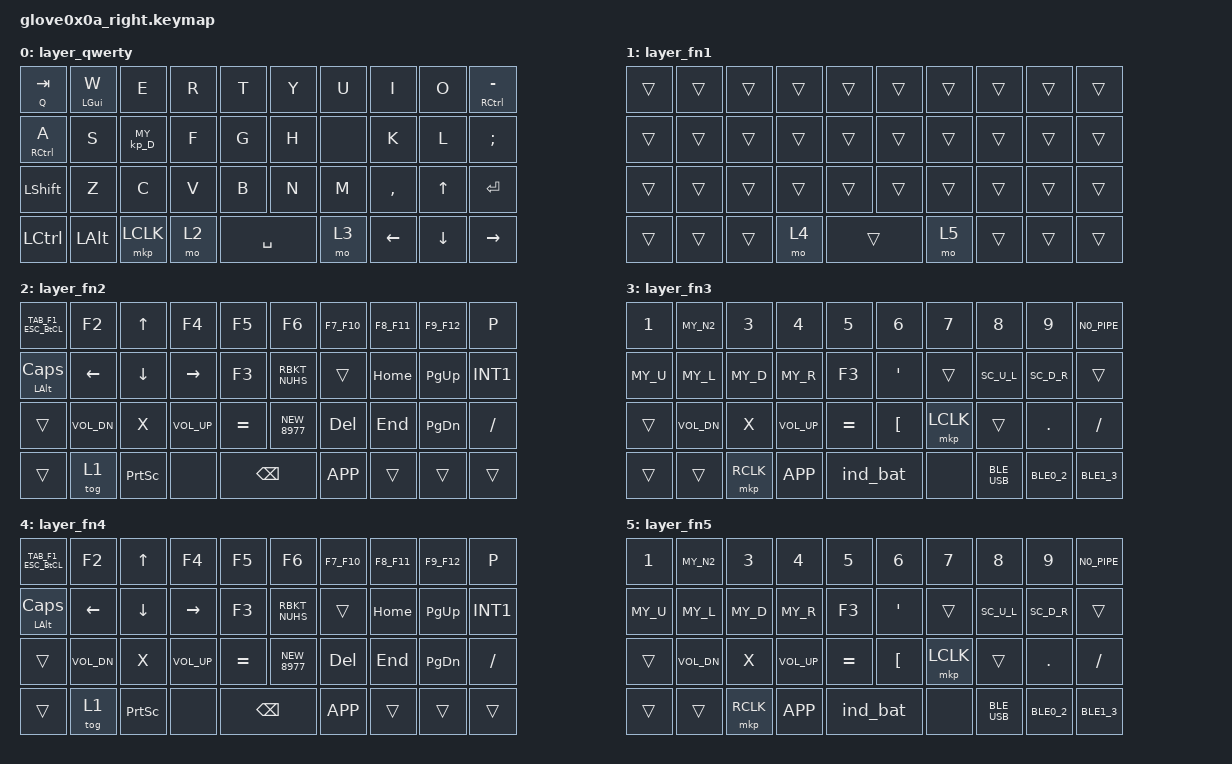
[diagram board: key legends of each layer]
#include <behaviors.dtsi>
#include <dt-bindings/zmk/keys.h>
#include <dt-bindings/zmk/bt.h>
#include <dt-bindings/zmk/outputs.h>
#include <dt-bindings/zmk/rgb.h>
#include <behaviors/rgbled_widget.dtsi>

//define
//ロータリーエンコーダ：マウスのスクロール量
#define ZMK_POINTING_DEFAULT_MOVE_VAL 1500
#define ZMK_POINTING_DEFAULT_SCRL_VAL 60

#include <dt-bindings/zmk/pointing.h>
#include <dt-bindings/input/input-event-codes.h>

#define HOLD_MS 250
//#define DANCE_MS 200
#define PIPE_ LS(INT3)
#define LS_   LSHFT

#define LO_U MOVE_Y(-1000)
#define LO_D MOVE_Y(1000)
#define LO_L MOVE_X(-1000)
#define LO_R MOVE_X(1000)
#define HI_U MOVE_Y(-200)
#define HI_D MOVE_Y(200)
#define HI_L MOVE_X(-200)
#define HI_R MOVE_X(200)

#define Rc(keycode) APPLY_MODS(MOD_RCTL, keycode)

//■■dtsi*********************************************************************************************
//2026.06.22 #1223                         左X4A、右CSTS。
//2026.06.22 #1222                         ☑XIAO BLE plusのGPIO制限からマトリクススキャンに変更。
//2026.06.20 #1208                         ☑1.キーマップ修正右→左、左手でLED利用(CapsLock)。
//2026.06.20 #1202 『glove0x0a_left.dtsi』 ☑1.左右でコンパイル、右手はCSTSを使用、左はX4Aを利用。
//2026.06.20 #1200 『glove0x0a_left.dtsi』 ☑1.direct scan
//                                         ☑2.XIAO BLE plus、表面のpinを入力で使う
//                                         ☑3.左右でコンパイル、右手はCSTSを使用、左はまだ
//                                         ☑4.USB-Cの5V給電(外両端-GND,次のピン-5V)
//■■Keymap*******************************************************************************************
//2026.06.06 #1172  Layer=2,4              mtを200msへ。shiftをCTRL+shiftへ。他レイヤーはshiftのみ。
//2026.05.30 #1113  Layer=0                W長押しでWin。
//                  Layer=1                QキーにBLE_CLRを統合。基本:ESC, 【ALT,Ctrl】:LS(TAB), 【LGUI】:F1, 【LSFT】:BT_CLR
//                  Layer=4                Layre 2をオーバーライド。zigglerがONのときだけ。LEDカラーが異なる。
//                  Layer=5                Layer 3をオーバーライド。zigglerがONのときだけ。LEDカラーが異なる。
//2026.05.20 #1101  Layer=2                CAPSとLALTを左小指に集約。
//2026.03.12 #873   全Layer                物理配置を再調整。D1が不調。(dts再調整)
//2026.03.03 #860   Layer=3                レイヤー3でMキーで、左クリック。
//2026.03.01 #847   Layer=ALL              Ctrlキーを再配置。
//                  Layer=3                BLE機能関連のキー右下に集約。
//2026.02.28 #832   Layer=2                Fnキーをレイヤー上段に集約。
//■■az1uball*******************************************************************************************
//2026.06.03 #1145 『az1uball.c』          キー検知の際に、画面描写がすぐ行われるように、検知直後のpolling周期を最速へ。
//2026.05.30 #1113 『az1uball.c』          R_CTR検知でマウス移動。
//2026.05.20 #1101 『az1uball.c』          GUI検知時にマウス移動。
//2026.03.01 #843  『az1uball.c』          デバッグ:AZ1UBALL:加速度上限制御。//2026.03.01 #842 デバッグ:AZ1UBALL:前回移動量のクリアを明記。//2026.03.01 #841 デバッグ:AZ1UBALL:前回移動量の保存条件を変更。//2026.03.01 #838 デバッグ:AZ1UBALL:cos/sinの符号不良。//2026.03.01 #837 デバッグ:AZ1UBALL:方向検出不良(if右else左else下else上->if右else左 if下else上)//2026.02.28 #834 デバッグ:AZ1UBALL:加速度不良。
//2026.02.28 #828  『az1uball.c』          I2C & AZ1UBALLのカスタマイズ。移動量,角度,加速度。
//■■ziggler*******************************************************************************************
//2026.06.05 #1157 『az1uball.c』          描画検知、ESCでのみI2Cのスリープ復帰。他キーはポーリング周期に影響なし。
//2026.06.03 #1145 『az1uball.c』          ジグラー周期で必ず動作するように、マウス幅を10へ(往復)。周期 > 閾値となるように調整。割込み時もジグラー見送り。
//2026.06.03 #1136 『activity.c』          deep sleep無効モード実装。(layer=1:ジグラーモードはdeep sleep無効)
//2026.06.03 #1136 『az1uball.c』          keymap・節電のため、layer 1をtogに変更。deep sleep無効モード実装。(以前は常に割込みが効いていたので、deep sleepを抑止できてたっぽい)
//2026.06.03 #1130 『az1uball.c』          ポーリングを節電方式に。
//2026.04.30 #1084 『az1uball.c』          ZIGGLER = mo 1 レイヤ & ON/OFF 物理スイッチ。
//■■カスタムbehavior*******************************************************************************************
//2026.06.08 #1175 『behavior_tap_dance.c』mo3とESCをタップダンスで実装。ほかキー割込み時にシングルタップ(mo3,5)を優先。
//2026.05.20 #1101 『behavior_hold_tap.c』 1.他キー割込み時はtap扱い。2.LALTのみhold扱い。3.Layer3の高速比率を3->6へ。
//2026.03.14 #919  『behavior_mod_morph.c』Q、TABへ。mod-morphの修飾キー(CTRL/ALT)マスク削除。例) ALT + Q(ALT時TAB)→ALT + TABへ。GUIはESC割込み追加。
//2026.03.13 #881  『behavior_tap_dance.c』tap-danceの自動リリース削除、押しっぱなしでホールド/即リリースは後追い。
//2026.02.23 #764  『behavior_capslock_led.c』zmkバージョンアップにより、rgbledをローカルzmkへ統合。
/////////////////////////////////////////////////
&mt {
    tapping-term-ms = <HOLD_MS>;  //hold-tap / caps -> Ctrl
};
/ {
//★macro---------------------------------------------------
    macros {
        BLE_USB: BLE_USB {
            compatible = "zmk,behavior-macro";
            #binding-cells = <0>;
            bindings
                = <&macro_tap &out OUT_USB>
                , <&macro_tap &bt BT_SEL 5 >;
        };
        BLE0: BLE0 {
            compatible = "zmk,behavior-macro";
            #binding-cells = <0>;
            bindings
                = <&macro_tap &out OUT_BLE>
                , <&macro_tap &bt BT_SEL 0 >;
        };
        BLE1: BLE1 {
            compatible = "zmk,behavior-macro";
            #binding-cells = <0>;
            bindings
                = <&macro_tap &out OUT_BLE>
                , <&macro_tap &bt BT_SEL 1 >;
        };
        BLE2: BLE2 {
            compatible = "zmk,behavior-macro";
            #binding-cells = <0>;
            bindings
                = <&macro_tap &out OUT_BLE>
                , <&macro_tap &bt BT_SEL 2 >;
        };
        BLE3: BLE3{
            compatible = "zmk,behavior-macro";
            #binding-cells = <0>;
            bindings
                = <&macro_tap &out OUT_BLE>
                , <&macro_tap &bt BT_SEL 3 >;
        };
        N_RBKT_NUHS: N_RBKT_NUHS {
            compatible = "zmk,behavior-macro";
            #binding-cells = <0>;
            bindings
                = <&kp RBKT &kp NUHS &kp LEFT>;
        };
        S_RBKT_NUHS: S_RBKT_NUHS {
            compatible = "zmk,behavior-macro";
            #binding-cells = <0>;
            bindings
                = <&kp LS(RBKT) &kp LS(NUHS) &kp LEFT>;
        };
        SHFT_89: SHFT_89 {
            compatible = "zmk,behavior-macro";
            #binding-cells = <0>;
            bindings
                = <&kp LS(N8) &kp LS(N9) &kp LEFT>;
        };
        SHFT_77: SHFT_77 {
            compatible = "zmk,behavior-macro";
            #binding-cells = <0>;
            bindings
                = <&kp LS(N7) &kp LS(N7) &kp LEFT>;
        };
        SHFT_22: SHFT_22 {
            compatible = "zmk,behavior-macro";
            #binding-cells = <0>;
            bindings
                = <&kp LS(N2) &kp LS(N2) &kp LEFT>;
        };
    };
////behaviors
    behaviors {
//★mod-morph-----------------------------------------------
        //ボリューム操作(Win->UNIX)
        VOL_UP: VOL_UP {
            compatible = "zmk,behavior-mod-morph";
            #binding-cells = <0>;
            bindings = <&kp C_VOL_UP>, <&kp K_VOL_UP>;
            mods = <MOD_LSFT>;
        };
        VOL_DN: VOL_DN {
            compatible = "zmk,behavior-mod-morph";
            #binding-cells = <0>;
            bindings = <&kp C_VOL_DN>, <&kp K_VOL_DN>;
            mods = <MOD_LSFT>;
        };
        //1.Q
        TAB_F1_ESC_BtCL_0: TAB_F1_ESC_BtCL_0{  /*BLE_ESC*/
            compatible = "zmk,behavior-mod-morph";
            #binding-cells = <0>;
            bindings = <&kp ESC>, <&bt BT_CLR >;
            mods = <MOD_LSFT>;
        };
        TAB_F1_ESC_BtCL_1: TAB_F1_ESC_BtCL_1 {
            compatible = "zmk,behavior-mod-morph";
            #binding-cells = <0>;
            bindings = <&TAB_F1_ESC_BtCL_0>, <&kp F1>;
            mods = <MOD_LGUI>;
        };
        TAB_F1_ESC_BtCL: TAB_F1_ESC_BtCL {    //0:ESC, 1:ALT,Ctrl->LS(TAB), 2:LGUI->F1, 3:LSFT->BT_CLR
            compatible = "zmk,behavior-mod-morph";
            #binding-cells = <0>;
            bindings = <&TAB_F1_ESC_BtCL_1>, <&kp LS(TAB)>;
            mods = <(MOD_LALT|MOD_LCTL|MOD_RCTL)>;
        };
        N0_PIPE: N0_PIPE {  /* N0 & pipe */
            compatible = "zmk,behavior-mod-morph";
            #binding-cells = <0>;
            bindings = <&kp N0>, <&kp PIPE_>;
            mods = <MOD_LSFT>;
        };
        //NEW_2:
        MY_N2: MY_N2 {
            compatible = "zmk,behavior-mod-morph";
            #binding-cells = <0>;
            bindings = <&kp N2>, <&SHFT_22>;
            mods = <MOD_LSFT>;
        };
        //NEW_8977:
        RBKT_NUHS: RBKT_NUHS {
            compatible = "zmk,behavior-mod-morph";
            #binding-cells = <0>;
            bindings = <&N_RBKT_NUHS>, <&S_RBKT_NUHS>;
            mods = <MOD_LSFT>;
        };
        //NEW_8977:
        NEW_8977: NEW_8977 {
            compatible = "zmk,behavior-mod-morph";
            #binding-cells = <0>;
            bindings = <&SHFT_89>, <&SHFT_77>;
            mods = <MOD_LSFT>;
        };
        //D <-> X:
        MY_kp_D: MY_kp_D {
            compatible = "zmk,behavior-mod-morph";
            #binding-cells = <0>;
            bindings = <&kp D>, <&kp X>;
            mods = <(MOD_LCTL|MOD_RCTL)>;
        };
        //MY_SPACE_1: MY_SPACE_1 {
        //    compatible = "zmk,behavior-mod-morph";
        //    #binding-cells = <0>;
        //    bindings = <&kp SPACE>, <&kp Z>;
        //    mods = <(MOD_LCTL|MOD_RCTL)>;
        //};
        //MY_SPACE: MY_SPACE {
        //    compatible = "zmk,behavior-mod-morph";
        //    #binding-cells = <0>;
        //    bindings = <&MY_SPACE_1>, <&kp LS(Z)>;
        //    mods = <MOD_LSFT>;
        //};
//////////十字キー
        MY_R: MY_R{
            compatible = "zmk,behavior-mod-morph";
            #binding-cells = <0>;
            bindings = <&mmv LO_R>, <&mmv HI_R>;
            mods = <MOD_LSFT>;
        };
        MY_U: MY_U{
            compatible = "zmk,behavior-mod-morph";
            #binding-cells = <0>;
            bindings = <&mmv LO_U>, <&mmv HI_U>;
            mods = <MOD_LSFT>;
        };
        MY_L: MY_L{
            compatible = "zmk,behavior-mod-morph";
            #binding-cells = <0>;
            bindings = <&mmv LO_L>, <&mmv HI_L>;
            mods = <MOD_LSFT>;
        };
        MY_D: MY_D{
            compatible = "zmk,behavior-mod-morph";
            #binding-cells = <0>;
            bindings = <&mmv LO_D>, <&mmv HI_D>;
            mods = <MOD_LSFT>;
        };
//////////スクロール
        SC_U_L: SC_U_L{
            compatible = "zmk,behavior-mod-morph";
            #binding-cells = <0>;
            bindings = <&msc SCRL_UP>, <&msc SCRL_LEFT>;
            mods = <MOD_LSFT>;
        };
        SC_D_R: SC_D_R{
            compatible = "zmk,behavior-mod-morph";
            #binding-cells = <0>;
            bindings = <&msc SCRL_DOWN>, <&msc SCRL_RIGHT>;
            mods = <MOD_LSFT>;
        };
        F7_F10: F7_F10{
            compatible = "zmk,behavior-mod-morph";
            #binding-cells = <0>;
            bindings = <&kp F7>, <&kp F10>;
            mods = <MOD_LSFT>;
        };
        F8_F11: F8_F11{
            compatible = "zmk,behavior-mod-morph";
            #binding-cells = <0>;
            bindings = <&kp F8>, <&kp F11>;
            mods = <MOD_LSFT>;
        };
        F9_F12: F9_F12{
            compatible = "zmk,behavior-mod-morph";
            #binding-cells = <0>;
            bindings = <&kp F9>, <&kp F12>;
            mods = <MOD_LSFT>;
        };
        BLE0_2: BLE0_2{
            compatible = "zmk,behavior-mod-morph";
            #binding-cells = <0>;
            bindings = <&BLE0>, <&BLE2>;
            mods = <MOD_LSFT>;
        };
        BLE1_3: BLE1_3{
            compatible = "zmk,behavior-mod-morph";
            #binding-cells = <0>;
            bindings = <&BLE1>, <&BLE3>;
            mods = <MOD_LSFT>;
        };
//★LED制御-------------------------------------------------
        capslock_led: capslock_led {
            compatible = "zmk,behavior-status-indicator";
            #binding-cells = <0>;
            behavior-status = "capslock";
        };
//★TAP DANCE-----------------------------------------------
//      mo3_ESC: mo3_ESC {
//          compatible = "zmk,behavior-tap-dance";
//          #binding-cells = <0>;
//          tapping-term-ms = <DANCE_MS>;
//          bindings = <&mo 3>, <&kp ESC>;
//      };
//      mo5_ESC: mo5_ESC {
//          compatible = "zmk,behavior-tap-dance";
//          #binding-cells = <0>;
//          tapping-term-ms = <DANCE_MS>;
//          bindings = <&mo 5>, <&kp ESC>;
//      };
    };
    //aliases
    aliases {
        led-red = &caps_led;     // ✅ DT_ALIAS(led_red) が &caps_led を参照
        led-green = &led1;
        led-blue = &led2;
    };
    //leds
    leds {
        compatible = "gpio-leds";
        status = "okay";

        caps_led: caps_led {
            gpios = <&gpio0 26 GPIO_ACTIVE_LOW>;  // ✅ P0.26 に接続された赤LED
            label = "CapsLock LED";               // ✅ GPIO識別用ラベル
        };

        led1: led_1 {
            gpios = <&gpio0 30 GPIO_ACTIVE_LOW>;
            label = "Green LED";
        };

        led2: led_2 {
            gpios = <&gpio0 6 GPIO_ACTIVE_LOW>;
            label = "Blue LED";
        };
    };

    //keymap
    keymap {
        compatible = "zmk,keymap";
        //0:normal
        layer_qwerty { bindings = <
/*右手*/
&mt Q       TAB  &mt LGUI W &kp  E    &kp R     &kp T     &kp  Y     &kp  U    &kp I     &kp O     &mt  RCTRL MINUS
&mt RCTRL   A    &kp S      &MY_kp_D  &kp F     &kp G     &kp  H     &none     &kp K     &kp L     &kp  SEMI
&kp LS_          &kp Z      &kp  C    &kp V     &kp B     &kp  N     &kp  M    &kp COMMA &kp UP    &kp  ENTER
&kp LCTRL        &kp LALT   &mkp LCLK &mo 2     &kp SPACE            &mo  3    &kp LEFT  &kp DOWN  &kp  RIGHT
          >;
        };
        //1:jigler-dummyレイヤー
        layer_fn1    { bindings = <
/*右手*/
&trans           &trans    &trans    &trans     &trans    &trans     &trans    &trans    &trans    &trans
&trans           &trans    &trans    &trans     &trans    &trans     &trans    &trans    &trans    &trans
&trans           &trans    &trans    &trans     &trans    &trans     &trans    &trans    &trans    &trans
&trans           &trans    &trans    &mo 4      &trans               &mo  5    &trans    &trans    &trans
 >; };
        //2:Custom + Function Keys + Vol
        layer_fn2    { bindings = <
/*右手*/
&TAB_F1_ESC_BtCL &kp F2     &kp UP    &kp F4    &kp F5    &kp  F6    &F7_F10   &F8_F11   &F9_F12   &kp  P
&mt LALT    CAPS &kp LEFT   &kp DOWN  &kp RIGHT &kp F3    &RBKT_NUHS &trans    &kp HOME  &kp PG_UP &kp  INT1
&trans           &VOL_DN    &kp X     &VOL_UP   &kp EQUAL &NEW_8977  &kp DEL   &kp END   &kp PG_DN &kp  SLASH
&trans           &tog 1     &kp PSCRN &none     &kp BSPC             &kp K_APP &trans    &trans    &trans
            >;
        };
        //3:Number + Bluetooth /マウス高速
        layer_fn3    { bindings = <
/*右手*/
&kp N1           &MY_N2     &kp  N3   &kp N4    &kp N5    &kp  N6    &kp  N7   &kp N8    &kp N9    &N0_PIPE
&MY_U            &MY_L      &MY_D     &MY_R     &kp F3    &kp  SQT   &trans    &SC_U_L   &SC_D_R   &trans
&trans           &VOL_DN    &kp X     &VOL_UP   &kp EQUAL &kp  LBKT  &mkp LCLK &trans    &kp DOT   &kp  SLASH
&trans           &trans     &mkp RCLK &kp K_APP &ind_bat             &none     &BLE_USB  &BLE0_2   &BLE1_3
            >;
        };

        //4:Custom + Function Keys + Vol
        layer_fn4    { bindings = <
/*右手*/
&TAB_F1_ESC_BtCL &kp F2     &kp UP    &kp F4    &kp F5    &kp  F6    &F7_F10   &F8_F11   &F9_F12   &kp  P
&mt LALT    CAPS &kp LEFT   &kp DOWN  &kp RIGHT &kp F3    &RBKT_NUHS &trans    &kp HOME  &kp PG_UP &kp  INT1
&trans           &VOL_DN    &kp X     &VOL_UP   &kp EQUAL &NEW_8977  &kp DEL   &kp END   &kp PG_DN &kp  SLASH
&trans           &tog 1     &kp PSCRN &none     &kp BSPC             &kp K_APP &trans    &trans    &trans
            >;
        };
        //5:Number + Bluetooth /マウス高速
        layer_fn5    { bindings = <
/*右手*/
&kp N1           &MY_N2     &kp  N3   &kp N4    &kp N5    &kp  N6    &kp  N7   &kp N8    &kp N9    &N0_PIPE
&MY_U            &MY_L      &MY_D     &MY_R     &kp F3    &kp  SQT   &trans    &SC_U_L   &SC_D_R   &trans
&trans           &VOL_DN    &kp X     &VOL_UP   &kp EQUAL &kp  LBKT  &mkp LCLK &trans    &kp DOT   &kp  SLASH
&trans           &trans     &mkp RCLK &kp K_APP &ind_bat             &none     &BLE_USB  &BLE0_2   &BLE1_3
            >;
        };
    };
};
//SPRIT
